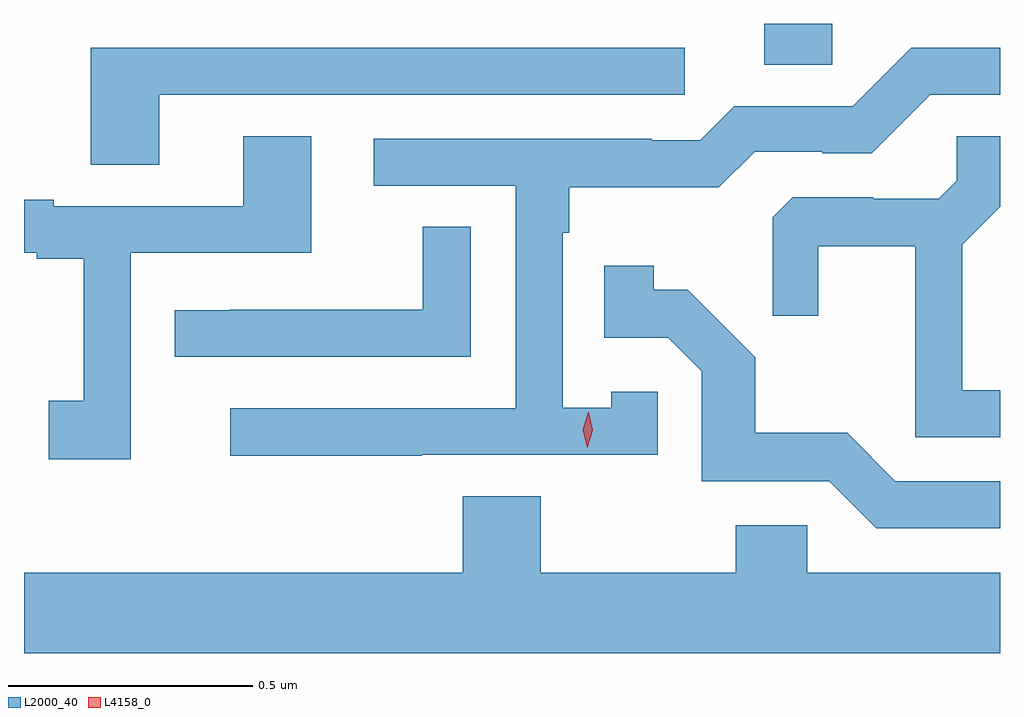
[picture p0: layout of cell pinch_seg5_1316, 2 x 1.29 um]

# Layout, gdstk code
import gdstk
lib = gdstk.Library(unit=1e-6, precision=1e-09)
def R(c, l, rs):  # rectangles x0, y0, x1, y1
    for r in rs: c.add(gdstk.rectangle(r[:2], r[2:], *l))
def P(c, l, *ps):  # polygons
    for p in ps: c.add(gdstk.Polygon(p, *l))
L2000_40 = (2000, 40)
L4158_0 = (4158, 0)

pinch_seg5_1316 = lib.new_cell('pinch_seg5_1316')
R(pinch_seg5_1316, L2000_40, [(450.689,860.629,450.828,860.713)])
P(pinch_seg5_1316, L2000_40, [(449.449,860.568),(450.526,860.568),(450.526,860.664),(449.309,860.664),(449.309,860.425),(449.449,860.425)],
  [(449.987,859.83),(450.471,859.83),(450.471,859.959),(450.375,859.959),(450.375,859.927),(450.276,859.927),(450.276,860.285),(450.289,860.285),(450.289,860.378),(450.596,860.378),(450.669,860.451),(450.808,860.451),(450.808,860.448),(450.909,860.448),(451.029,860.568),(451.172,860.568),(451.172,860.664),(450.99,860.664),(450.87,860.544),(450.627,860.544),(450.558,860.475),(450.458,860.475),(450.458,860.478),(449.889,860.478),(449.889,860.382),(450.18,860.382),(450.18,859.926),(449.595,859.926),(449.595,859.828),(449.987,859.828)],
  [(449.391,860.244),(449.761,860.244),(449.761,860.483),(449.621,860.483),(449.621,860.34),(449.233,860.34),(449.233,860.353),(449.172,860.353),(449.172,860.244),(449.198,860.244),(449.198,860.232),(449.294,860.232),(449.294,859.941),(449.223,859.941),(449.223,859.821),(449.391,859.821)],
  [(451.172,859.962),(451.095,859.962),(451.095,860.261),(451.172,860.338),(451.172,860.483),(451.083,860.483),(451.083,860.392),(451.046,860.355),(450.912,860.355),(450.912,860.358),(450.747,860.358),(450.706,860.317),(450.706,860.115),(450.8,860.115),(450.8,860.258),(450.998,860.258),(450.998,859.866),(451.172,859.866)],
  [(450.087,860.297),(449.989,860.297),(449.989,860.127),(449.593,860.127),(449.593,860.126),(449.481,860.126),(449.481,860.031),(450.087,860.031)],
  [(451.172,859.776),(450.957,859.776),(450.859,859.875),(450.67,859.875),(450.67,860.03),(450.532,860.168),(450.462,860.168),(450.462,860.218),(450.361,860.218),(450.361,860.07),(450.492,860.07),(450.561,860.001),(450.561,859.776),(450.822,859.776),(450.918,859.68),(451.172,859.68)],
  [(451.172,859.588),(450.777,859.588),(450.777,859.686),(450.631,859.686),(450.631,859.588),(450.231,859.588),(450.231,859.745),(450.071,859.745),(450.071,859.588),(449.172,859.588),(449.172,859.424),(451.172,859.424)])
P(pinch_seg5_1316, L4158_0, [(450.326,859.845),(450.326,859.845),(450.317,859.882),(450.328,859.917),(450.328,859.917),(450.329,859.917),(450.337,859.881),(450.326,859.845)])

lib.write_gds('pinch_seg5_1316.gds')
